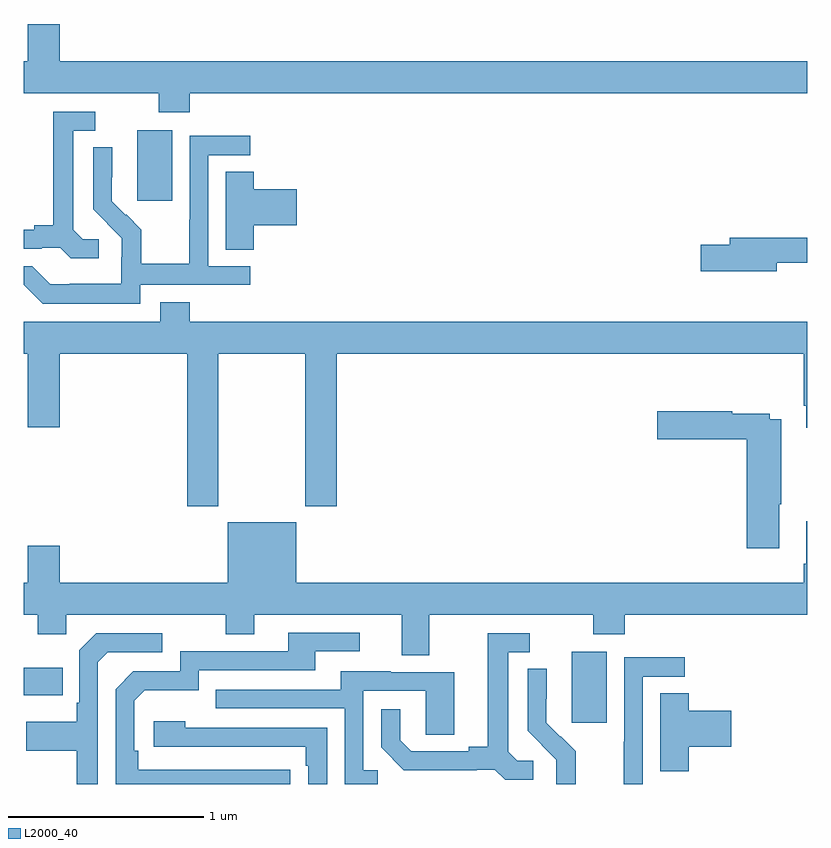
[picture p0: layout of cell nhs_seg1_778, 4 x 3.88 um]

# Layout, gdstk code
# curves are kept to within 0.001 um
import gdstk
lib = gdstk.Library(unit=1e-6, precision=1e-09)
def R(c, l, rs):  # rectangles x0, y0, x1, y1
    for r in rs: c.add(gdstk.rectangle(r[:2], r[2:], *l))
def P(c, l, *ps):  # polygons
    for p in ps: c.add(gdstk.Polygon(p, *l))
L2000_40 = (2000, 40)

nhs_seg1_778 = lib.new_cell('nhs_seg1_778')
R(nhs_seg1_778, L2000_40, [(155.798,552.513,155.977,552.874), (153,552.653,153.197,552.793), (153.578,555.177,153.757,555.538)])
P(nhs_seg1_778, L2000_40, [(153.848,555.728),(157,555.728),(157,555.892),(153.184,555.892),(153.184,556.081),(153.02,556.081),(153.02,555.892),(153,555.892),(153,555.728),(153.688,555.728),(153.688,555.629),(153.848,555.629)],
  [(153.382,554.982),(153.3,554.982),(153.253,555.029),(153.253,555.537),(153.364,555.537),(153.364,555.633),(153.149,555.633),(153.149,555.053),(153.053,555.053),(153.053,555.03),(153,555.03),(153,554.934),(153.092,554.934),(153.092,554.937),(153.186,554.937),(153.238,554.885),(153.382,554.885)],
  [(153.594,554.748),(154.156,554.748),(154.156,554.844),(153.942,554.844),(153.942,555.411),(154.156,555.411),(154.156,555.51),(153.846,555.51),(153.846,555.08),(153.844,555.08),(153.844,554.857),(153.599,554.857),(153.599,555.031),(153.522,555.108),(153.519,555.105),(153.449,555.176),(153.45,555.452),(153.354,555.452),(153.354,555.134),(153.5,554.986),(153.5,554.889),(153.498,554.889),(153.498,554.755),(153.235,554.755),(153.235,554.751),(153.135,554.751),(153.042,554.844),(153,554.844),(153,554.748),(153.097,554.651),(153.594,554.651)],
  [(154.175,555.053),(154.393,555.053),(154.393,555.236),(154.175,555.236),(154.175,555.326),(154.031,555.326),(154.031,554.929),(154.175,554.929)],
  [(156.844,554.862),(157,554.862),(157,554.99),(156.605,554.99),(156.605,554.954),(156.456,554.954),(156.456,554.819),(156.844,554.819)],
  [(153.993,554.396),(154.438,554.396),(154.438,553.617),(154.598,553.617),(154.598,554.396),(156.983,554.396),(156.983,554.131),(156.995,554.131),(156.995,554.019),(157,554.019),(157,554.56),(153.848,554.56),(153.848,554.659),(153.695,554.659),(153.695,554.56),(153,554.56),(153,554.396),(153.02,554.396),(153.02,554.022),(153.184,554.022),(153.184,554.396),(153.833,554.396),(153.833,553.617),(153.993,553.617)],
  [(156.859,553.627),(156.867,553.627),(156.867,554.062),(156.81,554.062),(156.81,554.091),(156.618,554.091),(156.618,554.103),(156.234,554.103),(156.234,553.961),(156.692,553.961),(156.692,553.404),(156.859,553.404)],
  [(154.04,553.537),(154.04,553.228),(153.184,553.228),(153.184,553.417),(153.02,553.417),(153.02,553.228),(153,553.228),(153,553.064),(153.07,553.064),(153.07,552.965),(153.216,552.965),(153.216,553.064),(154.03,553.064),(154.03,552.965),(154.177,552.965),(154.177,553.064),(154.931,553.064),(154.931,552.856),(155.071,552.856),(155.071,553.064),(155.908,553.064),(155.908,552.965),(156.068,552.965),(156.068,553.064),(157,553.064),(157,553.54),(156.995,553.54),(156.995,553.324),(156.983,553.324),(156.983,553.228),(154.39,553.228),(154.39,553.537)],
  [(154.361,552.272),(153.584,552.273),(153.584,552.37),(153.564,552.37),(153.564,552.624),(153.617,552.677),(153.894,552.677),(153.894,552.78),(154.489,552.78),(154.489,552.876),(154.714,552.876),(154.714,552.972),(154.349,552.972),(154.349,552.876),(153.798,552.876),(153.798,552.774),(153.558,552.774),(153.468,552.684),(153.468,552.199),(154.361,552.199)],
  [(155.602,552.318),(155.52,552.318),(155.473,552.365),(155.473,552.873),(155.584,552.873),(155.584,552.969),(155.369,552.969),(155.369,552.389),(155.273,552.389),(155.273,552.366),(154.978,552.366),(154.921,552.423),(154.921,552.58),(154.824,552.58),(154.824,552.386),(154.94,552.27),(155.312,552.27),(155.312,552.273),(155.406,552.273),(155.458,552.221),(155.602,552.221)],
  [(153.378,552.822),(153.429,552.873),(153.706,552.873),(153.706,552.969),(153.369,552.969),(153.282,552.882),(153.282,552.613),(153.27,552.613),(153.27,552.517),(153.013,552.517),(153.013,552.37),(153.27,552.37),(153.27,552.199),(153.378,552.199)],
  [(156.162,552.747),(156.376,552.747),(156.376,552.846),(156.066,552.846),(156.066,552.416),(156.064,552.416),(156.064,552.199),(156.162,552.199)],
  [(155.819,552.367),(155.742,552.444),(155.739,552.441),(155.669,552.512),(155.67,552.788),(155.574,552.788),(155.574,552.47),(155.72,552.322),(155.72,552.225),(155.718,552.225),(155.718,552.199),(155.819,552.199)],
  [(154.807,552.27),(154.734,552.27),(154.734,552.675),(155.052,552.675),(155.052,552.451),(155.197,552.451),(155.197,552.771),(154.873,552.771),(154.873,552.775),(154.619,552.775),(154.619,552.681),(153.979,552.681),(153.979,552.585),(154.638,552.585),(154.638,552.199),(154.807,552.199)],
  [(156.395,552.389),(156.613,552.389),(156.613,552.572),(156.395,552.572),(156.395,552.662),(156.251,552.662),(156.251,552.265),(156.395,552.265)],
  [(154.548,552.486),(153.824,552.486),(153.824,552.52),(153.663,552.52),(153.663,552.39),(154.439,552.39),(154.439,552.293),(154.452,552.293),(154.452,552.199),(154.548,552.199)])

lib.write_gds('nhs_seg1_778.gds')
